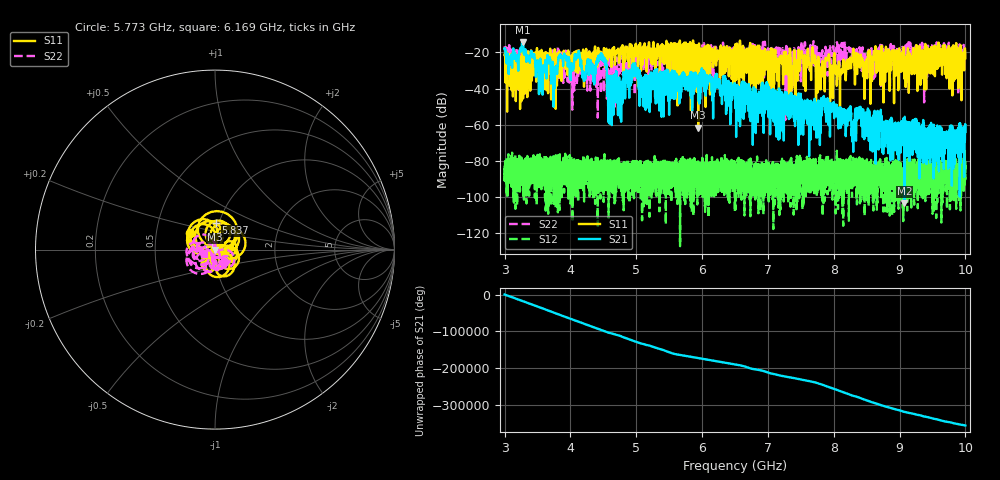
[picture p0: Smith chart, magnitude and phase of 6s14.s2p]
!Agilent Technologies,E8363B,MY43030572,A.06.04.32
!Agilent E8363B: A.06.04.32
!Date: Tuesday, June 07, 2011 08:34:10
!Correction: S11(Full 2 Port(1,2)) S21(Full 2 Port(1,2)) S12(Full 2 Port(1,2)) S22(Full 2 Port(1,2))
!S2P File: Measurements: S11, S21, S12, S22:
# Hz S  dB  R 50
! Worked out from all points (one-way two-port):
!   6401 points, 3 GHz to 10 GHz, reference 50 ohm
!   highest |S21| = -14.30 dB at 3.272 GHz (marker M1); lowest = -103.6 dB at 9.074 GHz (marker M2)
!   lowest |S11| = -61.7 dB at 5.941 GHz (marker M3), VSWR 1.00, Z = 50 - j0.0823 ohm
!   |S11| at or under -10 dB: start of sweep to end of sweep
!   |S22| runs from -57.5 to -13.8 dB; largest |S21 - S12| = 0.19
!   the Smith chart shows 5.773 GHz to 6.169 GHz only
!   S11 on the Smith chart (normalised r, x): 5.773 GHz: 0.74, +0.15; 5.837 GHz: 0.96, +0.29; 6.169 GHz: 0.91, -0.05
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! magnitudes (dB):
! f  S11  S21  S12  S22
! 3 GHz  -21.5  -17.9  -82.7  -16.6
! 3.272 GHz  -21.8  -14.3  -86.3  -19.1
! 3.735 GHz  -21.8  -27.0  -82.7  -20.5
! 3.849 GHz  -24.9  -21.2  -84.6  -33.2
! 4.167 GHz  -21.3  -28.2  -85.9  -24.9
! 4.481 GHz  -21.7  -23.3  -85.7  -25.9
! 4.596 GHz  -19.2  -59.5  -90.9  -31.3
! 4.742 GHz  -23.2  -35.6  -83.2  -23.1
! 4.972 GHz  -17.6  -26.8  -88.1  -24.2
! 5.091 GHz  -26.4  -37.5  -93.4  -23.2
! 5.334 GHz  -19.4  -32.7  -90.8  -26.7
! 5.773 GHz  -15.4  -36.4  -87.7  -21.4
! 5.837 GHz  -16.5  -34.7  -94.2  -26.7
! 5.941 GHz  -61.7  -38.5  -90.9  -28.5
! 6.169 GHz  -24.8  -42.6  -90.5  -23.7
! 6.5 GHz  -18.6  -40.6  -81.5  -22.7
! 7.667 GHz  -19.3  -57.0  -88.8  -17.2
! 7.904 GHz  -23.6  -45.4  -83.5  -28.9
! 7.967 GHz  -27.7  -51.4  -81.5  -20.8
! 8.834 GHz  -19.1  -64.2  -88.8  -21.4
! 9.074 GHz  -29.1  -103.6  -92.0  -23.4
! 10 GHz  -23.1  -64.0  -84.6  -21.4
